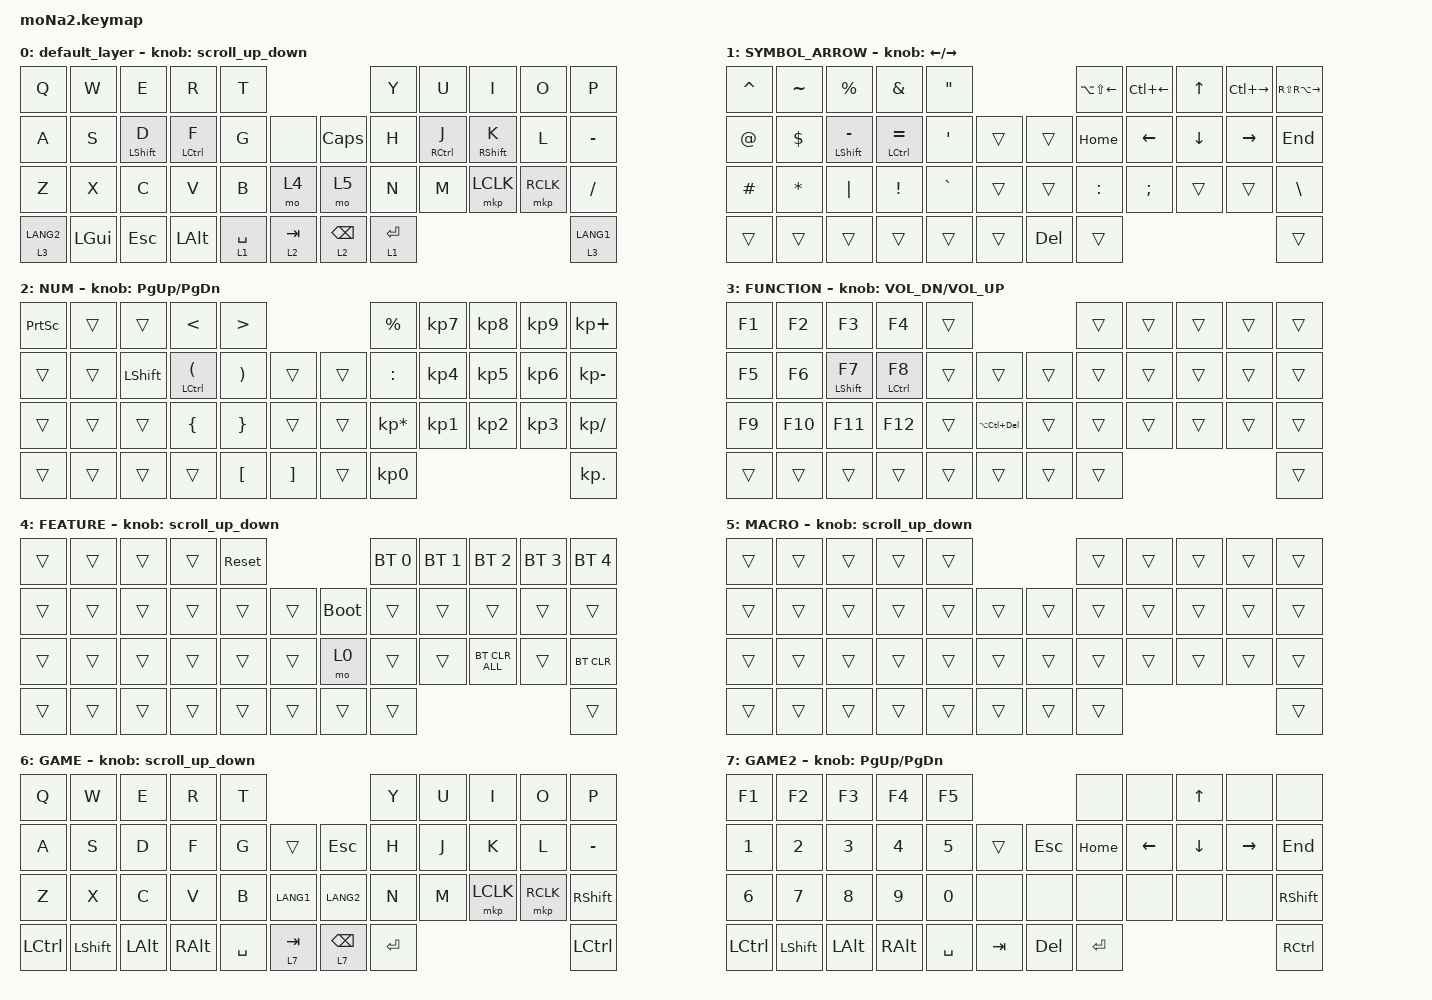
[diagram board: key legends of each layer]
#include <behaviors.dtsi>
#include <dt-bindings/zmk/bt.h>
#include <dt-bindings/zmk/keys.h>
#include <dt-bindings/zmk/pointing.h>

#define ZMK_POINTING_DEFAULT_SCRL_VAL 100
#define MOUSE 6

&mt {
    flavor = "tap-preferred";
    quick-tap-ms = <0>;
    require-prior-idle-ms = <125>;
};

&lt {
    flavor = "balanced";
    quick-tap-ms = <200>;
    require-prior-idle-ms = <125>;
};

/ {
    combos {
        compatible = "zmk,combos";

        middleClick {
            bindings = <&mkp MB3>;
            key-positions = <31 32>;
        };

        coron {
            bindings = <&kp COLON>;
            key-positions = <14 26>;
        };

        semicoron {
            bindings = <&kp SEMICOLON>;
            key-positions = <17 29>;
        };

        comma {
            bindings = <&kp COMMA>;
            key-positions = <14 4>;
        };

        period {
            bindings = <&kp PERIOD>;
            key-positions = <17 5>;
        };

        to_layer0 {
            bindings = <&to 0>;
            key-positions = <27 28>;
        };
    };

    macros {
        to_layer_0: to_layer_0 {
            compatible = "zmk,behavior-macro-one-param";
            #binding-cells = <1>;
            bindings = <&to 0 &macro_param_1to1 &kp MACRO_PLACEHOLDER>;
            label = "TO_LAYER_0";
        };
    };

    behaviors {
        lt_to_layer_0: lt_to_layer_0 {
            compatible = "zmk,behavior-hold-tap";
            label = "LAYER_TAP_TO_0";
            bindings = <&mo>, <&to_layer_0>;

            #binding-cells = <2>;
            tapping-term-ms = <200>;
        };

        scroll_up_down: behavior_sensor_rotate_mouse_wheel_up_down {
            compatible = "zmk,behavior-sensor-rotate";
            #sensor-binding-cells = <0>;
            bindings = <&msc SCRL_UP>, <&msc SCRL_DOWN>;

            tap-ms = <20>;
        };
    };

    keymap {
        compatible = "zmk,keymap";

        default_layer {
            bindings = <
&kp Q        &kp W         &kp E             &kp R               &kp T                                      &kp Y        &kp U                &kp I              &kp O      &kp P
&kp A        &kp S         &mt LEFT_SHIFT D  &mt LEFT_CONTROL F  &kp G        &none        &kp CAPSLOCK     &kp H        &mt RIGHT_CONTROL J  &mt RIGHT_SHIFT K  &kp L      &kp MINUS
&kp Z        &kp X         &kp C             &kp V               &kp B        &mo 4        &mo 5            &kp N        &kp M                &mkp LCLK          &mkp RCLK  &kp SLASH
&lt 3 LANG2  &kp LEFT_GUI  &kp ESCAPE        &kp LEFT_ALT        &lt 1 SPACE  &lt 2 TAB    &lt 2 BACKSPACE  &lt 1 ENTER                                                     &lt 3 LANG1
            >;

            sensor-bindings = <&scroll_up_down>;
        };

        SYMBOL_ARROW {
            bindings = <
&kp CARET    &kp TILDE     &kp PERCENT           &kp AMPERSAND           &kp DOUBLE_QUOTES                        &kp LA(LS(LEFT))  &kp LC(LEFT)   &kp UP_ARROW  &kp LC(RIGHT)  &kp RS(RA(RIGHT))
&kp AT_SIGN  &kp DOLLAR    &mt LEFT_SHIFT MINUS  &mt LEFT_CONTROL EQUAL  &kp SINGLE_QUOTE   &trans    &trans      &kp HOME          &kp LEFT       &kp DOWN      &kp RIGHT      &kp END
&kp HASH     &kp ASTERISK  &kp PIPE              &kp EXCLAMATION         &kp GRAVE          &trans    &trans      &kp COLON         &kp SEMICOLON  &trans        &trans         &kp BACKSLASH
&trans       &trans        &trans                &trans                  &trans             &trans    &kp DELETE  &trans                                                        &trans
            >;

            sensor-bindings = <&inc_dec_kp LEFT RIGHT>;
        };

        NUM {
            bindings = <
&kp PRINTSCREEN  &trans  &trans          &kp LESS_THAN                      &kp GREATER_THAN                                    &kp PERCENT      &kp KP_NUMBER_7  &kp KP_NUMBER_8  &kp KP_NUMBER_9  &kp KP_PLUS
&trans           &trans  &kp LEFT_SHIFT  &mt LEFT_CONTROL LEFT_PARENTHESIS  &kp RIGHT_PARENTHESIS  &trans               &trans  &kp COLON        &kp KP_N4        &kp KP_NUMBER_5  &kp KP_NUMBER_6  &kp KP_MINUS
&trans           &trans  &trans          &kp LEFT_BRACE                     &kp RIGHT_BRACE        &trans               &trans  &kp KP_MULTIPLY  &kp KP_NUMBER_1  &kp KP_NUMBER_2  &kp KP_NUMBER_3  &kp KP_SLASH
&trans           &trans  &trans          &trans                             &kp LEFT_BRACKET       &kp RIGHT_BRACKET    &trans  &kp KP_NUMBER_0                                                     &kp KP_DOT
            >;

            sensor-bindings = <&inc_dec_kp PAGE_UP PAGE_DOWN>;
        };

        FUNCTION {
            bindings = <
&kp F1  &kp F2   &kp F3             &kp F4               &trans                                &trans  &trans  &trans  &trans  &trans
&kp F5  &kp F6   &mt LEFT_SHIFT F7  &mt LEFT_CONTROL F8  &trans  &trans                &trans  &trans  &trans  &trans  &trans  &trans
&kp F9  &kp F10  &kp F11            &kp F12              &trans  &kp LA(LC(DELETE))    &trans  &trans  &trans  &trans  &trans  &trans
&trans  &trans   &trans             &trans               &trans  &trans                &trans  &trans                          &trans
            >;

            sensor-bindings = <&inc_dec_kp C_VOL_DN C_VOL_UP>;
        };

        FEATURE {
            bindings = <
&trans  &trans  &trans  &trans  &sys_reset                         &bt BT_SEL 0  &bt BT_SEL 1  &bt BT_SEL 2    &bt BT_SEL 3  &bt BT_SEL 4
&trans  &trans  &trans  &trans  &trans      &trans    &bootloader  &trans        &trans        &trans          &trans        &trans
&trans  &trans  &trans  &trans  &trans      &trans    &mo 0        &trans        &trans        &bt BT_CLR_ALL  &trans        &bt BT_CLR
&trans  &trans  &trans  &trans  &trans      &trans    &trans       &trans                                                    &trans
            >;

            sensor-bindings = <&scroll_up_down>;
        };

        MACRO {
            bindings = <
&trans  &trans  &trans  &trans  &trans                    &trans  &trans  &trans  &trans  &trans
&trans  &trans  &trans  &trans  &trans  &trans    &trans  &trans  &trans  &trans  &trans  &trans
&trans  &trans  &trans  &trans  &trans  &trans    &trans  &trans  &trans  &trans  &trans  &trans
&trans  &trans  &trans  &trans  &trans  &trans    &trans  &trans                          &trans
            >;

            sensor-bindings = <&scroll_up_down>;
        };

        GAME {
            bindings = <
&kp Q             &kp W           &kp E         &kp R          &kp T                                    &kp Y      &kp U  &kp I      &kp O      &kp P
&kp A             &kp S           &kp D         &kp F          &kp G      &trans       &kp ESCAPE       &kp H      &kp J  &kp K      &kp L      &kp MINUS
&kp Z             &kp X           &kp C         &kp V          &kp B      &kp LANG1    &kp LANG2        &kp N      &kp M  &mkp LCLK  &mkp RCLK  &kp RIGHT_SHIFT
&kp LEFT_CONTROL  &kp LEFT_SHIFT  &kp LEFT_ALT  &kp RIGHT_ALT  &kp SPACE  &lt 7 TAB    &lt 7 BACKSPACE  &kp ENTER                               &kp LEFT_CONTROL
            >;

            sensor-bindings = <&scroll_up_down>;
        };

        GAME2 {
            bindings = <
&kp F1            &kp F2          &kp F3        &kp F4         &kp F5                            &none      &none           &kp UP_ARROW    &none            &none
&kp NUMBER_1      &kp NUMBER_2    &kp NUMBER_3  &kp NUMBER_4   &kp N5     &trans     &kp ESCAPE  &kp HOME   &kp LEFT_ARROW  &kp DOWN_ARROW  &kp RIGHT_ARROW  &kp END
&kp NUMBER_6      &kp N7          &kp N8        &kp N9         &kp N0     &none      &none       &none      &none           &none           &none            &kp RIGHT_SHIFT
&kp LEFT_CONTROL  &kp LEFT_SHIFT  &kp LEFT_ALT  &kp RIGHT_ALT  &kp SPACE  &kp TAB    &kp DELETE  &kp ENTER                                                   &kp RIGHT_CONTROL
            >;

            sensor-bindings = <&inc_dec_kp PAGE_UP PAGE_DOWN>;
        };
    };
};
